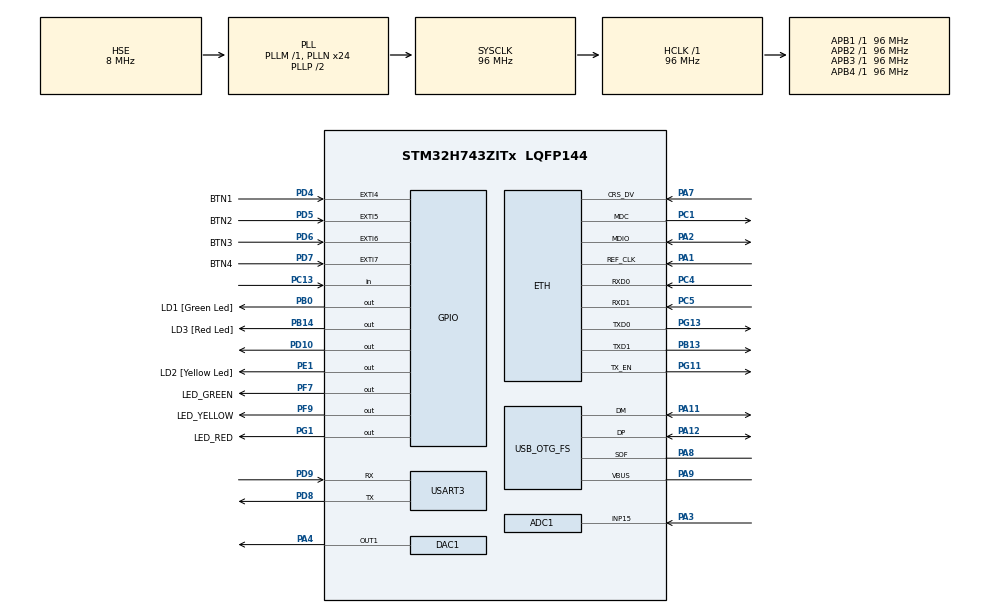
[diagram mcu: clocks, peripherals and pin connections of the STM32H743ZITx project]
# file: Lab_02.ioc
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ADC1.Channel-0\#ChannelRegularConversion=ADC_CHANNEL_15
ADC1.ConversionDataManagement=ADC_CONVERSIONDATA_DMA_ONESHOT
ADC1.ExternalTrigConv=ADC_EXTERNALTRIG_T1_TRGO
ADC1.NbrOfConversion=1
ADC1.NbrOfConversionFlag=1
ADC1.Resolution=ADC_RESOLUTION_12B
ADC1.master=1
DAC1.DAC_Trigger-DAC_OUT1=DAC_TRIGGER_T1_TRGO
Dma.ADC1.0.Direction=DMA_PERIPH_TO_MEMORY
Dma.ADC1.0.EventEnable=DISABLE
Dma.ADC1.0.FIFOMode=DMA_FIFOMODE_DISABLE
Dma.ADC1.0.Instance=DMA1_Stream0
Dma.ADC1.0.MemDataAlignment=DMA_MDATAALIGN_HALFWORD
Dma.ADC1.0.MemInc=DMA_MINC_ENABLE
Dma.ADC1.0.Mode=DMA_NORMAL
Dma.ADC1.0.PeriphDataAlignment=DMA_PDATAALIGN_HALFWORD
Dma.ADC1.0.PeriphInc=DMA_PINC_DISABLE
Dma.ADC1.0.Polarity=HAL_DMAMUX_REQ_GEN_RISING
Dma.ADC1.0.Priority=DMA_PRIORITY_LOW
Dma.ADC1.0.RequestNumber=1
Dma.ADC1.0.SignalID=NONE
Dma.ADC1.0.SyncEnable=DISABLE
Dma.ADC1.0.SyncPolarity=HAL_DMAMUX_SYNC_NO_EVENT
Dma.ADC1.0.SyncRequestNumber=1
Dma.ADC1.0.SyncSignalID=NONE
Dma.DAC1_CH1.1.Direction=DMA_MEMORY_TO_PERIPH
Dma.DAC1_CH1.1.EventEnable=DISABLE
Dma.DAC1_CH1.1.FIFOMode=DMA_FIFOMODE_DISABLE
Dma.DAC1_CH1.1.Instance=DMA1_Stream1
Dma.DAC1_CH1.1.MemDataAlignment=DMA_MDATAALIGN_HALFWORD
Dma.DAC1_CH1.1.MemInc=DMA_MINC_ENABLE
Dma.DAC1_CH1.1.Mode=DMA_NORMAL
Dma.DAC1_CH1.1.PeriphDataAlignment=DMA_PDATAALIGN_HALFWORD
Dma.DAC1_CH1.1.PeriphInc=DMA_PINC_DISABLE
Dma.DAC1_CH1.1.Polarity=HAL_DMAMUX_REQ_GEN_RISING
Dma.DAC1_CH1.1.Priority=DMA_PRIORITY_LOW
Dma.DAC1_CH1.1.RequestNumber=1
Dma.DAC1_CH1.1.SignalID=NONE
Dma.DAC1_CH1.1.SyncEnable=DISABLE
Dma.DAC1_CH1.1.SyncPolarity=HAL_DMAMUX_SYNC_NO_EVENT
Dma.DAC1_CH1.1.SyncRequestNumber=1
Dma.DAC1_CH1.1.SyncSignalID=NONE
Dma.Request0=ADC1
Dma.Request1=DAC1_CH1
ETH.MediaInterface=HAL_ETH_RMII_MODE
Mcu.Family=STM32H7
Mcu.Name=STM32H743ZITx
Mcu.Package=LQFP144
NVIC.DMA1_Stream0_IRQn=true\:0\:0\:false\:false\:true\:false\:true
NVIC.DMA1_Stream1_IRQn=true\:0\:0\:false\:false\:true\:false\:true
NVIC.EXTI4_IRQn=true\:0\:0\:false\:false\:true\:true\:true
NVIC.EXTI9_5_IRQn=true\:0\:0\:false\:false\:true\:true\:true
NVIC.PriorityGroup=NVIC_PRIORITYGROUP_4
PA1.Mode=RMII
PA1.Signal=ETH_REF_CLK
PA11.Mode=Device_Only
PA11.Signal=USB_OTG_FS_DM
PA12.Mode=Device_Only
PA12.Signal=USB_OTG_FS_DP
PA2.Mode=RMII
PA2.Signal=ETH_MDIO
PA3.Signal=ADCx_INP15
PA4.Signal=COMP_DAC11_group
PA7.Mode=RMII
PA7.Signal=ETH_CRS_DV
PA8.Mode=Activate_SOF_FS
PA8.Signal=USB_OTG_FS_SOF
PA9.Mode=Activate_VBUS
PA9.Signal=USB_OTG_FS_VBUS
PB0.GPIO_Label=LD1 [Green Led]
PB0.GPIO_ModeDefaultOutputPP=GPIO_MODE_OUTPUT_PP
PB0.GPIO_PuPd=GPIO_NOPULL
PB0.GPIO_Speed=GPIO_SPEED_FREQ_LOW
PB0.PinState=GPIO_PIN_RESET
PB0.Signal=GPIO_Output
PB13.Mode=RMII
PB13.Signal=ETH_TXD1
PB14.GPIO_Label=LD3 [Red Led]
PB14.GPIO_ModeDefaultOutputPP=GPIO_MODE_OUTPUT_PP
PB14.GPIO_PuPd=GPIO_NOPULL
PB14.GPIO_Speed=GPIO_SPEED_FREQ_LOW
PB14.PinState=GPIO_PIN_RESET
PB14.Signal=GPIO_Output
PC1.Mode=RMII
PC1.Signal=ETH_MDC
PC13.GPIO_Mode=GPIO_MODE_INPUT
PC13.GPIO_PuPd=GPIO_NOPULL
PC13.Signal=GPIO_Input
PC14-OSC32_IN\ (OSC32_IN).Mode=LSE-External-Oscillator
PC14-OSC32_IN\ (OSC32_IN).Signal=RCC_OSC32_IN
PC15-OSC32_OUT\ (OSC32_OUT).Mode=LSE-External-Oscillator
PC15-OSC32_OUT\ (OSC32_OUT).Signal=RCC_OSC32_OUT
PC4.Mode=RMII
PC4.Signal=ETH_RXD0
PC5.Mode=RMII
PC5.Signal=ETH_RXD1
PD10.GPIO_ModeDefaultOutputPP=GPIO_MODE_OUTPUT_PP
PD10.GPIO_PuPd=GPIO_NOPULL
PD10.GPIO_Speed=GPIO_SPEED_FREQ_LOW
PD10.PinState=GPIO_PIN_RESET
PD10.Signal=GPIO_Output
PD4.GPIO_Label=BTN1
PD4.GPIO_ModeDefaultEXTI=GPIO_MODE_IT_FALLING
PD4.Signal=GPXTI4
PD5.GPIO_Label=BTN2
PD5.GPIO_ModeDefaultEXTI=GPIO_MODE_IT_FALLING
PD5.Signal=GPXTI5
PD6.GPIO_Label=BTN3
PD6.GPIO_ModeDefaultEXTI=GPIO_MODE_IT_FALLING
PD6.Signal=GPXTI6
PD7.GPIO_Label=BTN4
PD7.GPIO_ModeDefaultEXTI=GPIO_MODE_IT_FALLING
PD7.Signal=GPXTI7
PD8.GPIO_ModeDefaultPP=GPIO_MODE_AF_PP
PD8.GPIO_PuPd=GPIO_NOPULL
PD8.GPIO_Speed=GPIO_SPEED_FREQ_LOW
PD8.Mode=Asynchronous
PD8.Signal=USART3_TX
PD9.GPIO_ModeDefaultPP=GPIO_MODE_AF_PP
PD9.GPIO_PuPd=GPIO_NOPULL
PD9.GPIO_Speed=GPIO_SPEED_FREQ_LOW
PD9.Mode=Asynchronous
PD9.Signal=USART3_RX
PE1.GPIO_Label=LD2 [Yellow Led]
PE1.GPIO_ModeDefaultOutputPP=GPIO_MODE_OUTPUT_PP
PE1.GPIO_PuPd=GPIO_NOPULL
PE1.GPIO_Speed=GPIO_SPEED_FREQ_LOW
PE1.PinState=GPIO_PIN_RESET
PE1.Signal=GPIO_Output
PF7.GPIO_Label=LED_GREEN
PF7.Signal=GPIO_Output
PF9.GPIO_Label=LED_YELLOW
PF9.Signal=GPIO_Output
PG1.GPIO_Label=LED_RED
PG1.Signal=GPIO_Output
PG11.Mode=RMII
PG11.Signal=ETH_TX_EN
PG13.Mode=RMII
PG13.Signal=ETH_TXD0
PH0-OSC_IN\ (PH0).Mode=HSE-External-Clock-Source
PH0-OSC_IN\ (PH0).Signal=RCC_OSC_IN
PH1-OSC_OUT\ (PH1).Signal=RCC_OSC_OUT
ProjectManager.HeapSize=0x200
ProjectManager.StackSize=0x400
ProjectManager.TargetToolchain=STM32CubeIDE
RCC.ADCFreq_Value=50666666.666666664
RCC.APB1Freq_Value=96000000
RCC.APB2Freq_Value=96000000
RCC.APB3Freq_Value=96000000
RCC.APB4Freq_Value=96000000
RCC.CortexFreq_Value=96000000
RCC.DIVM1=1
RCC.DIVM2=1
RCC.DIVN1=24
RCC.DIVN2=19
RCC.DIVP2=3
RCC.DIVQ1=4
RCC.HCLKFreq_Value=96000000
RCC.HSE_VALUE=8000000
RCC.PLLFRACN=0
RCC.SYSCLKFreq_VALUE=96000000
RCC.SYSCLKSource=RCC_SYSCLKSOURCE_PLLCLK
RCC.USBFreq_Value=48000000
SH.ADCx_INP15.0=ADC1_INP15,IN15-Single-Ended
SH.COMP_DAC11_group.0=DAC1_OUT1,DAC_OUT1
TIM1.Period=12000-1
TIM1.TIM_MasterOutputTrigger=TIM_TRGO_UPDATE
USART3.VirtualMode-Asynchronous=VM_ASYNC
USB_OTG_FS.VirtualMode=Device_Only
VP_TIM1_VS_ClockSourceINT.Mode=Internal
board=NUCLEO-H743ZI2

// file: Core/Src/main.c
/* USER CODE BEGIN Header */
/**
 ******************************************************************************
 * @file           : main.c
 * @brief          : Main program body
 ******************************************************************************
 * @attention
 *
 * <h2><center>&copy; Copyright (c) 2020 STMicroelectronics.
 * All rights reserved.</center></h2>
 *
 * This software component is licensed by ST under BSD 3-Clause license,
 * the "License"; You may not use this file except in compliance with the
 * License. You may obtain a copy of the License at:
 *                        opensource.org/licenses/BSD-3-Clause
 *
 ******************************************************************************
 */
/* USER CODE END Header */
#include "main.h"
#include "string.h"

#if defined ( __ICCARM__ ) /*!< IAR Compiler */

#pragma location=0x30040000
ETH_DMADescTypeDef  DMARxDscrTab[ETH_RX_DESC_CNT]; /* Ethernet Rx DMA Descriptors */
#pragma location=0x30040060
ETH_DMADescTypeDef  DMATxDscrTab[ETH_TX_DESC_CNT]; /* Ethernet Tx DMA Descriptors */
#pragma location=0x30040200
uint8_t Rx_Buff[ETH_RX_DESC_CNT][ETH_MAX_PACKET_SIZE]; /* Ethernet Receive Buffers */

#elif defined ( __CC_ARM )  /* MDK ARM Compiler */

__attribute__((at(0x30040000))) ETH_DMADescTypeDef  DMARxDscrTab[ETH_RX_DESC_CNT]; /* Ethernet Rx DMA Descriptors */
__attribute__((at(0x30040060))) ETH_DMADescTypeDef  DMATxDscrTab[ETH_TX_DESC_CNT]; /* Ethernet Tx DMA Descriptors */
__attribute__((at(0x30040200))) uint8_t Rx_Buff[ETH_RX_DESC_CNT][ETH_MAX_PACKET_SIZE]; /* Ethernet Receive Buffer */

#elif defined ( __GNUC__ ) /* GNU Compiler */

ETH_DMADescTypeDef DMARxDscrTab[ETH_RX_DESC_CNT] __attribute__((section(".RxDecripSection"))); /* Ethernet Rx DMA Descriptors */
ETH_DMADescTypeDef DMATxDscrTab[ETH_TX_DESC_CNT] __attribute__((section(".TxDecripSection")));   /* Ethernet Tx DMA Descriptors */
uint8_t Rx_Buff[ETH_RX_DESC_CNT][ETH_MAX_PACKET_SIZE] __attribute__((section(".RxArraySection"))); /* Ethernet Receive Buffers */

#endif

ETH_TxPacketConfig TxConfig;
ADC_HandleTypeDef hadc1;
DMA_HandleTypeDef hdma_adc1;

DAC_HandleTypeDef hdac1;
DMA_HandleTypeDef hdma_dac1_ch1;

ETH_HandleTypeDef heth;

TIM_HandleTypeDef htim1;

UART_HandleTypeDef huart3;

PCD_HandleTypeDef hpcd_USB_OTG_FS;

void SystemClock_Config(void);
static void MX_GPIO_Init(void);
static void MX_DMA_Init(void);
static void MX_ETH_Init(void);
static void MX_USART3_UART_Init(void);
static void MX_USB_OTG_FS_PCD_Init(void);
static void MX_ADC1_Init(void);
static void MX_DAC1_Init(void);
static void MX_TIM1_Init(void);

/* USER CODE BEGIN 0 */
#define ADC_BUF_SIZE 	8000
#define CIRC_BUF_SIZE	560
#define UP_BUF_SIZE 	6000
#define DOWN_BUF_SIZE 	16000-1

uint16_t ADC_buff[ADC_BUF_SIZE];
uint16_t CIRC_buff[CIRC_BUF_SIZE];
uint16_t UP_buff[UP_BUF_SIZE];
uint16_t DOWN_buff[DOWN_BUF_SIZE];

int DAC_out;

int record_done 	= 0;
int play_done 		= 0;
int button_state 	= 0;
int if_record 		= 0;
/* USER CODE END 0 */

int main(void)
{

	/* MCU Configuration--------------------------------------------------------*/

	/* Reset of all peripherals, Initializes the Flash interface and the Systick. */
	HAL_Init();

	/* Configure the system clock */
	SystemClock_Config();

	/* Initialize all configured peripherals */
	MX_GPIO_Init();
	MX_DMA_Init();
	MX_ETH_Init();
	MX_USART3_UART_Init();
	MX_USB_OTG_FS_PCD_Init();
	MX_ADC1_Init();
	MX_DAC1_Init();
	MX_TIM1_Init();
	/* USER CODE BEGIN 2 */
	if(HAL_ADCEx_Calibration_Start(&hadc1, ADC_CALIB_OFFSET,ADC_SINGLE_ENDED) != HAL_OK){
		Error_Handler();
	}
	HAL_TIM_Base_Start(&htim1);
	/* USER CODE END 2 */

	/* Infinite loop */
	/* USER CODE BEGIN WHILE */
	while (1)
	{
		// Wait until a button is pressed
		if(button_state == 1){
			// Red LED ON for 1 second
			HAL_GPIO_WritePin(GPIOG, LED_RED_Pin, GPIO_PIN_SET);
			HAL_Delay(1000);
			HAL_GPIO_WritePin(GPIOG, LED_RED_Pin, GPIO_PIN_RESET);
			// Yellow LED ON for 1 second
			HAL_GPIO_WritePin(GPIOF, LED_YELLOW_Pin, GPIO_PIN_SET);
			HAL_Delay(1000);
			HAL_GPIO_WritePin(GPIOF, LED_YELLOW_Pin, GPIO_PIN_RESET);
			// Green LED ON
			HAL_GPIO_WritePin(GPIOF, LED_GREEN_Pin, GPIO_PIN_SET);

			// Start a recording
			if(HAL_ADC_Start_DMA(&hadc1, (uint32_t *)&ADC_buff, ADC_BUF_SIZE) != HAL_OK){
				Error_Handler();
			}
			while (1)
			{
				if(record_done == 1){
					record_done = 0;
					break;
				}
			}

			// Wait for 1 second the Green LED OFF
			HAL_Delay(1000);
			HAL_GPIO_WritePin(GPIOF, LED_GREEN_Pin, GPIO_PIN_RESET);

			// Delay for half a second
			HAL_Delay(500);
			// Start a playback
			if(HAL_DAC_Start_DMA(&hdac1, DAC_CHANNEL_1, ADC_buff, ADC_BUF_SIZE, DAC_ALIGN_12B_R) != HAL_OK){
				Error_Handler();
			}
			while (1){
				if(play_done == 1){
					play_done = 0;
					break;
				}
			}
			// Recording sample exists
			if_record = 1;
			// Reset button state
			button_state = 0;
		}else if(button_state == 2){
			// Check if a recording sample exists
			if(!if_record) continue;
			// Green LED ON & Red LED OFF to signal activity
			HAL_GPIO_WritePin(GPIOF, LED_GREEN_Pin, GPIO_PIN_SET);
			HAL_GPIO_WritePin(GPIOG, LED_RED_Pin, GPIO_PIN_RESET);
			// Reverb Effect
			for(int i=0; i<ADC_BUF_SIZE; i++){
				// Reverb + Delay
				DAC_out = ADC_buff[i] + (2/3.f) * CIRC_buff[i%CIRC_BUF_SIZE];
				if(HAL_DAC_Start_DMA(&hdac1, DAC_CHANNEL_1, &DAC_out, 1, DAC_ALIGN_12B_R) != HAL_OK){
					Error_Handler();
				}
				while (1){
					if(play_done == 1){
						play_done = 0;
						break;
					}
				}
				// Circular buffer for delay
				CIRC_buff[i%CIRC_BUF_SIZE] = ADC_buff[i];
			}
			// Reset button state
			button_state = 0;
		}else if(button_state == 3){
			// Check if a recording sample exists
			if(!if_record) continue;
			// Green LED ON & Red LED OFF to signal activity
			HAL_GPIO_WritePin(GPIOF, LED_GREEN_Pin, GPIO_PIN_SET);
			HAL_GPIO_WritePin(GPIOG, LED_RED_Pin, GPIO_PIN_RESET);
			// Fill the upsampled array with the recording
			for(int i=0; i<ADC_BUF_SIZE/4; i++){
				UP_buff[3*i] = ADC_buff[4*i];
			}
			// Interpolate the upsampled array
			int point_1, point_2, point_3;
			for(int i=0; i<ADC_BUF_SIZE/4; i++){
				point_1 = ADC_buff[4*i+1];
				point_2 = ADC_buff[4*i+2];
				point_3 = ADC_buff[4*i+3];
				UP_buff[3*i+1] = (1 / 3.f) * (point_1 - point_2) + point_1;
				UP_buff[3*i+2] = (2 / 3.f) * (point_2 - point_3) + point_2;
			}
			// Start a playback
			if(HAL_DAC_Start_DMA(&hdac1, DAC_CHANNEL_1, UP_buff, UP_BUF_SIZE, DAC_ALIGN_12B_R) != HAL_OK){
				Error_Handler();
			}
			while (1){
				if(play_done == 1){
					play_done = 0;
					break;
				}
			}
			// Reset button state
			button_state = 0;
		}else if(button_state == 4){
			// Check if a recording sample exists
			if(!if_record) continue;
			// Green LED ON & Red LED OFF to signal activity
			HAL_GPIO_WritePin(GPIOF, LED_GREEN_Pin, GPIO_PIN_SET);
			HAL_GPIO_WritePin(GPIOG, LED_RED_Pin, GPIO_PIN_RESET);
			// Fill the downsampled array with the recording
			for(int i=0; i<ADC_BUF_SIZE; i++){
				DOWN_buff[2*i] = ADC_buff[i];
			}
			// Interpolate the downsampled array
			for(int i=0; i<ADC_BUF_SIZE-1; i++){
				DOWN_buff[2*i+1] = (1 / 2.f) * (DOWN_buff[2*i+2] + DOWN_buff[2*i]);
			}
			// Start a playback
			if(HAL_DAC_Start_DMA(&hdac1, DAC_CHANNEL_1, DOWN_buff, DOWN_BUF_SIZE, DAC_ALIGN_12B_R) != HAL_OK){
				Error_Handler();
			}
			while (1){
				if(play_done == 1){
					play_done = 0;
					break;
				}
			}
			// Reset button state
			button_state = 0;
		}
		// Green LED OFF & Red LED ON to signal inactivity
		HAL_GPIO_WritePin(GPIOF, LED_GREEN_Pin, GPIO_PIN_RESET);
		HAL_GPIO_WritePin(GPIOG, LED_RED_Pin, GPIO_PIN_SET);
		/* USER CODE END WHILE */

	}
}

void SystemClock_Config(void)
{
	RCC_OscInitTypeDef RCC_OscInitStruct = {0};
	RCC_ClkInitTypeDef RCC_ClkInitStruct = {0};
	RCC_PeriphCLKInitTypeDef PeriphClkInitStruct = {0};

	/** Supply configuration update enable
	 */
	HAL_PWREx_ConfigSupply(PWR_LDO_SUPPLY);
	/** Configure the main internal regulator output voltage
	 */
	__HAL_PWR_VOLTAGESCALING_CONFIG(PWR_REGULATOR_VOLTAGE_SCALE3);

	while(!__HAL_PWR_GET_FLAG(PWR_FLAG_VOSRDY)) {}
	/** Macro to configure the PLL clock source
	 */
	__HAL_RCC_PLL_PLLSOURCE_CONFIG(RCC_PLLSOURCE_HSE);
	/** Initializes the RCC Oscillators according to the specified parameters
	 * in the RCC_OscInitTypeDef structure.
	 */
	RCC_OscInitStruct.OscillatorType = RCC_OSCILLATORTYPE_HSE;
	RCC_OscInitStruct.HSEState = RCC_HSE_BYPASS;
	RCC_OscInitStruct.PLL.PLLState = RCC_PLL_ON;
	RCC_OscInitStruct.PLL.PLLSource = RCC_PLLSOURCE_HSE;
	RCC_OscInitStruct.PLL.PLLM = 1;
	RCC_OscInitStruct.PLL.PLLN = 24;
	RCC_OscInitStruct.PLL.PLLP = 2;
	RCC_OscInitStruct.PLL.PLLQ = 4;
	RCC_OscInitStruct.PLL.PLLR = 2;
	RCC_OscInitStruct.PLL.PLLRGE = RCC_PLL1VCIRANGE_3;
	RCC_OscInitStruct.PLL.PLLVCOSEL = RCC_PLL1VCOWIDE;
	RCC_OscInitStruct.PLL.PLLFRACN = 0;
	if (HAL_RCC_OscConfig(&RCC_OscInitStruct) != HAL_OK)
	{
		Error_Handler();
	}
	/** Initializes the CPU, AHB and APB buses clocks
	 */
	RCC_ClkInitStruct.ClockType = RCC_CLOCKTYPE_HCLK|RCC_CLOCKTYPE_SYSCLK
			|RCC_CLOCKTYPE_PCLK1|RCC_CLOCKTYPE_PCLK2
			|RCC_CLOCKTYPE_D3PCLK1|RCC_CLOCKTYPE_D1PCLK1;
	RCC_ClkInitStruct.SYSCLKSource = RCC_SYSCLKSOURCE_PLLCLK;
	RCC_ClkInitStruct.SYSCLKDivider = RCC_SYSCLK_DIV1;
	RCC_ClkInitStruct.AHBCLKDivider = RCC_HCLK_DIV1;
	RCC_ClkInitStruct.APB3CLKDivider = RCC_APB3_DIV1;
	RCC_ClkInitStruct.APB1CLKDivider = RCC_APB1_DIV1;
	RCC_ClkInitStruct.APB2CLKDivider = RCC_APB2_DIV1;
	RCC_ClkInitStruct.APB4CLKDivider = RCC_APB4_DIV1;

	if (HAL_RCC_ClockConfig(&RCC_ClkInitStruct, FLASH_LATENCY_1) != HAL_OK)
	{
		Error_Handler();
	}
	PeriphClkInitStruct.PeriphClockSelection = RCC_PERIPHCLK_USART3|RCC_PERIPHCLK_ADC
			|RCC_PERIPHCLK_USB;
	PeriphClkInitStruct.PLL2.PLL2M = 1;
	PeriphClkInitStruct.PLL2.PLL2N = 19;
	PeriphClkInitStruct.PLL2.PLL2P = 3;
	PeriphClkInitStruct.PLL2.PLL2Q = 2;
	PeriphClkInitStruct.PLL2.PLL2R = 2;
	PeriphClkInitStruct.PLL2.PLL2RGE = RCC_PLL2VCIRANGE_3;
	PeriphClkInitStruct.PLL2.PLL2VCOSEL = RCC_PLL2VCOMEDIUM;
	PeriphClkInitStruct.PLL2.PLL2FRACN = 0;
	PeriphClkInitStruct.Usart234578ClockSelection = RCC_USART234578CLKSOURCE_D2PCLK1;
	PeriphClkInitStruct.UsbClockSelection = RCC_USBCLKSOURCE_PLL;
	PeriphClkInitStruct.AdcClockSelection = RCC_ADCCLKSOURCE_PLL2;
	if (HAL_RCCEx_PeriphCLKConfig(&PeriphClkInitStruct) != HAL_OK)
	{
		Error_Handler();
	}
	/** Enable USB Voltage detector
	 */
	HAL_PWREx_EnableUSBVoltageDetector();
}

static void MX_ADC1_Init(void)
{

	ADC_MultiModeTypeDef multimode = {0};
	ADC_ChannelConfTypeDef sConfig = {0};

	/** Common config
	 */
	hadc1.Instance = ADC1;
	hadc1.Init.ClockPrescaler = ADC_CLOCK_ASYNC_DIV1;
	hadc1.Init.Resolution = ADC_RESOLUTION_12B;
	hadc1.Init.ScanConvMode = ADC_SCAN_DISABLE;
	hadc1.Init.EOCSelection = ADC_EOC_SINGLE_CONV;
	hadc1.Init.LowPowerAutoWait = DISABLE;
	hadc1.Init.ContinuousConvMode = DISABLE;
	hadc1.Init.NbrOfConversion = 1;
	hadc1.Init.DiscontinuousConvMode = DISABLE;
	hadc1.Init.ExternalTrigConv = ADC_EXTERNALTRIG_T1_TRGO;
	hadc1.Init.ExternalTrigConvEdge = ADC_EXTERNALTRIGCONVEDGE_RISING;
	hadc1.Init.ConversionDataManagement = ADC_CONVERSIONDATA_DMA_ONESHOT;
	hadc1.Init.Overrun = ADC_OVR_DATA_PRESERVED;
	hadc1.Init.LeftBitShift = ADC_LEFTBITSHIFT_NONE;
	hadc1.Init.OversamplingMode = DISABLE;
	if (HAL_ADC_Init(&hadc1) != HAL_OK)
	{
		Error_Handler();
	}
	/** Configure the ADC multi-mode
	 */
	multimode.Mode = ADC_MODE_INDEPENDENT;
	if (HAL_ADCEx_MultiModeConfigChannel(&hadc1, &multimode) != HAL_OK)
	{
		Error_Handler();
	}
	/** Configure Regular Channel
	 */
	sConfig.Channel = ADC_CHANNEL_15;
	sConfig.Rank = ADC_REGULAR_RANK_1;
	sConfig.SamplingTime = ADC_SAMPLETIME_1CYCLE_5;
	sConfig.SingleDiff = ADC_SINGLE_ENDED;
	sConfig.OffsetNumber = ADC_OFFSET_NONE;
	sConfig.Offset = 0;
	if (HAL_ADC_ConfigChannel(&hadc1, &sConfig) != HAL_OK)
	{
		Error_Handler();
	}

}

static void MX_DAC1_Init(void)
{

	DAC_ChannelConfTypeDef sConfig = {0};

	/** DAC Initialization
	 */
	hdac1.Instance = DAC1;
	if (HAL_DAC_Init(&hdac1) != HAL_OK)
	{
		Error_Handler();
	}
	/** DAC channel OUT1 config
	 */
	sConfig.DAC_SampleAndHold = DAC_SAMPLEANDHOLD_DISABLE;
	sConfig.DAC_Trigger = DAC_TRIGGER_T1_TRGO;
	sConfig.DAC_OutputBuffer = DAC_OUTPUTBUFFER_ENABLE;
	sConfig.DAC_ConnectOnChipPeripheral = DAC_CHIPCONNECT_DISABLE;
	sConfig.DAC_UserTrimming = DAC_TRIMMING_FACTORY;
	if (HAL_DAC_ConfigChannel(&hdac1, &sConfig, DAC_CHANNEL_1) != HAL_OK)
	{
		Error_Handler();
	}

}

static void MX_ETH_Init(void)
{

	heth.Instance = ETH;
	heth.Init.MACAddr[0] =   0x00;
	heth.Init.MACAddr[1] =   0x80;
	heth.Init.MACAddr[2] =   0xE1;
	heth.Init.MACAddr[3] =   0x00;
	heth.Init.MACAddr[4] =   0x00;
	heth.Init.MACAddr[5] =   0x00;
	heth.Init.MediaInterface = HAL_ETH_RMII_MODE;
	heth.Init.TxDesc = DMATxDscrTab;
	heth.Init.RxDesc = DMARxDscrTab;
	heth.Init.RxBuffLen = 1524;

	if (HAL_ETH_Init(&heth) != HAL_OK)
	{
		Error_Handler();
	}

	memset(&TxConfig, 0 , sizeof(ETH_TxPacketConfig));
	TxConfig.Attributes = ETH_TX_PACKETS_FEATURES_CSUM | ETH_TX_PACKETS_FEATURES_CRCPAD;
	TxConfig.ChecksumCtrl = ETH_CHECKSUM_IPHDR_PAYLOAD_INSERT_PHDR_CALC;
	TxConfig.CRCPadCtrl = ETH_CRC_PAD_INSERT;

}

static void MX_TIM1_Init(void)
{

	TIM_ClockConfigTypeDef sClockSourceConfig = {0};
	TIM_MasterConfigTypeDef sMasterConfig = {0};

	htim1.Instance = TIM1;
	htim1.Init.Prescaler = 0;
	htim1.Init.CounterMode = TIM_COUNTERMODE_UP;
	htim1.Init.Period = 12000-1;
	htim1.Init.ClockDivision = TIM_CLOCKDIVISION_DIV1;
	htim1.Init.RepetitionCounter = 0;
	htim1.Init.AutoReloadPreload = TIM_AUTORELOAD_PRELOAD_DISABLE;
	if (HAL_TIM_Base_Init(&htim1) != HAL_OK)
	{
		Error_Handler();
	}
	sClockSourceConfig.ClockSource = TIM_CLOCKSOURCE_INTERNAL;
	if (HAL_TIM_ConfigClockSource(&htim1, &sClockSourceConfig) != HAL_OK)
	{
		Error_Handler();
	}
	sMasterConfig.MasterOutputTrigger = TIM_TRGO_UPDATE;
	sMasterConfig.MasterOutputTrigger2 = TIM_TRGO2_RESET;
	sMasterConfig.MasterSlaveMode = TIM_MASTERSLAVEMODE_DISABLE;
	if (HAL_TIMEx_MasterConfigSynchronization(&htim1, &sMasterConfig) != HAL_OK)
	{
		Error_Handler();
	}

}

static void MX_USART3_UART_Init(void)
{

	huart3.Instance = USART3;
	huart3.Init.BaudRate = 115200;
	huart3.Init.WordLength = UART_WORDLENGTH_8B;
	huart3.Init.StopBits = UART_STOPBITS_1;
	huart3.Init.Parity = UART_PARITY_NONE;
	huart3.Init.Mode = UART_MODE_TX_RX;
	huart3.Init.HwFlowCtl = UART_HWCONTROL_NONE;
	huart3.Init.OverSampling = UART_OVERSAMPLING_16;
	huart3.Init.OneBitSampling = UART_ONE_BIT_SAMPLE_DISABLE;
	huart3.Init.ClockPrescaler = UART_PRESCALER_DIV1;
	huart3.AdvancedInit.AdvFeatureInit = UART_ADVFEATURE_NO_INIT;
	if (HAL_UART_Init(&huart3) != HAL_OK)
	{
		Error_Handler();
	}
	if (HAL_UARTEx_SetTxFifoThreshold(&huart3, UART_TXFIFO_THRESHOLD_1_8) != HAL_OK)
	{
		Error_Handler();
	}
	if (HAL_UARTEx_SetRxFifoThreshold(&huart3, UART_RXFIFO_THRESHOLD_1_8) != HAL_OK)
	{
		Error_Handler();
	}
	if (HAL_UARTEx_DisableFifoMode(&huart3) != HAL_OK)
	{
		Error_Handler();
	}

}

static void MX_USB_OTG_FS_PCD_Init(void)
{

	hpcd_USB_OTG_FS.Instance = USB_OTG_FS;
	hpcd_USB_OTG_FS.Init.dev_endpoints = 9;
	hpcd_USB_OTG_FS.Init.speed = PCD_SPEED_FULL;
	hpcd_USB_OTG_FS.Init.dma_enable = DISABLE;
	hpcd_USB_OTG_FS.Init.phy_itface = PCD_PHY_EMBEDDED;
	hpcd_USB_OTG_FS.Init.Sof_enable = ENABLE;
	hpcd_USB_OTG_FS.Init.low_power_enable = DISABLE;
	hpcd_USB_OTG_FS.Init.lpm_enable = DISABLE;
	hpcd_USB_OTG_FS.Init.battery_charging_enable = ENABLE;
	hpcd_USB_OTG_FS.Init.vbus_sensing_enable = ENABLE;
	hpcd_USB_OTG_FS.Init.use_dedicated_ep1 = DISABLE;
	if (HAL_PCD_Init(&hpcd_USB_OTG_FS) != HAL_OK)
	{
		Error_Handler();
	}

}

static void MX_DMA_Init(void)
{

	/* DMA controller clock enable */
	__HAL_RCC_DMA1_CLK_ENABLE();

	/* DMA interrupt init */
	/* DMA1_Stream0_IRQn interrupt configuration */
	HAL_NVIC_SetPriority(DMA1_Stream0_IRQn, 0, 0);
	HAL_NVIC_EnableIRQ(DMA1_Stream0_IRQn);
	/* DMA1_Stream1_IRQn interrupt configuration */
	HAL_NVIC_SetPriority(DMA1_Stream1_IRQn, 0, 0);
	HAL_NVIC_EnableIRQ(DMA1_Stream1_IRQn);

}

static void MX_GPIO_Init(void)
{
	GPIO_InitTypeDef GPIO_InitStruct = {0};

	/* GPIO Ports Clock Enable */
	__HAL_RCC_GPIOC_CLK_ENABLE();
	__HAL_RCC_GPIOF_CLK_ENABLE();
	__HAL_RCC_GPIOH_CLK_ENABLE();
	__HAL_RCC_GPIOA_CLK_ENABLE();
	__HAL_RCC_GPIOB_CLK_ENABLE();
	__HAL_RCC_GPIOG_CLK_ENABLE();
	__HAL_RCC_GPIOD_CLK_ENABLE();
	__HAL_RCC_GPIOE_CLK_ENABLE();

	/*Configure GPIO pin Output Level */
	HAL_GPIO_WritePin(GPIOF, LED_GREEN_Pin|LED_YELLOW_Pin, GPIO_PIN_RESET);

	/*Configure GPIO pin Output Level */
	HAL_GPIO_WritePin(GPIOB, LD1_Pin|LD3_Pin, GPIO_PIN_RESET);

	/*Configure GPIO pin Output Level */
	HAL_GPIO_WritePin(LED_RED_GPIO_Port, LED_RED_Pin, GPIO_PIN_RESET);

	/*Configure GPIO pin Output Level */
	HAL_GPIO_WritePin(GPIOD, GPIO_PIN_10, GPIO_PIN_RESET);

	/*Configure GPIO pin Output Level */
	HAL_GPIO_WritePin(LD2_GPIO_Port, LD2_Pin, GPIO_PIN_RESET);

	/*Configure GPIO pin : PC13 */
	GPIO_InitStruct.Pin = GPIO_PIN_13;
	GPIO_InitStruct.Mode = GPIO_MODE_INPUT;
	GPIO_InitStruct.Pull = GPIO_NOPULL;
	HAL_GPIO_Init(GPIOC, &GPIO_InitStruct);

	/*Configure GPIO pins : LED_GREEN_Pin LED_YELLOW_Pin */
	GPIO_InitStruct.Pin = LED_GREEN_Pin|LED_YELLOW_Pin;
	GPIO_InitStruct.Mode = GPIO_MODE_OUTPUT_PP;
	GPIO_InitStruct.Pull = GPIO_NOPULL;
	GPIO_InitStruct.Speed = GPIO_SPEED_FREQ_LOW;
	HAL_GPIO_Init(GPIOF, &GPIO_InitStruct);

	/*Configure GPIO pins : LD1_Pin LD3_Pin */
	GPIO_InitStruct.Pin = LD1_Pin|LD3_Pin;
	GPIO_InitStruct.Mode = GPIO_MODE_OUTPUT_PP;
	GPIO_InitStruct.Pull = GPIO_NOPULL;
	GPIO_InitStruct.Speed = GPIO_SPEED_FREQ_LOW;
	HAL_GPIO_Init(GPIOB, &GPIO_InitStruct);

	/*Configure GPIO pin : LED_RED_Pin */
	GPIO_InitStruct.Pin = LED_RED_Pin;
	GPIO_InitStruct.Mode = GPIO_MODE_OUTPUT_PP;
	GPIO_InitStruct.Pull = GPIO_NOPULL;
	GPIO_InitStruct.Speed = GPIO_SPEED_FREQ_LOW;
	HAL_GPIO_Init(LED_RED_GPIO_Port, &GPIO_InitStruct);

	/*Configure GPIO pin : PD10 */
	GPIO_InitStruct.Pin = GPIO_PIN_10;
	GPIO_InitStruct.Mode = GPIO_MODE_OUTPUT_PP;
	GPIO_InitStruct.Pull = GPIO_NOPULL;
	GPIO_InitStruct.Speed = GPIO_SPEED_FREQ_LOW;
	HAL_GPIO_Init(GPIOD, &GPIO_InitStruct);

	/*Configure GPIO pins : BTN1_Pin BTN2_Pin BTN3_Pin BTN4_Pin */
	GPIO_InitStruct.Pin = BTN1_Pin|BTN2_Pin|BTN3_Pin|BTN4_Pin;
	GPIO_InitStruct.Mode = GPIO_MODE_IT_FALLING;
	GPIO_InitStruct.Pull = GPIO_NOPULL;
	HAL_GPIO_Init(GPIOD, &GPIO_InitStruct);

	/*Configure GPIO pin : LD2_Pin */
	GPIO_InitStruct.Pin = LD2_Pin;
	GPIO_InitStruct.Mode = GPIO_MODE_OUTPUT_PP;
	GPIO_InitStruct.Pull = GPIO_NOPULL;
	GPIO_InitStruct.Speed = GPIO_SPEED_FREQ_LOW;
	HAL_GPIO_Init(LD2_GPIO_Port, &GPIO_InitStruct);

	/* EXTI interrupt init*/
	HAL_NVIC_SetPriority(EXTI4_IRQn, 0, 0);
	HAL_NVIC_EnableIRQ(EXTI4_IRQn);

	HAL_NVIC_SetPriority(EXTI9_5_IRQn, 0, 0);
	HAL_NVIC_EnableIRQ(EXTI9_5_IRQn);

}

/* USER CODE BEGIN 4 */
void HAL_GPIO_EXTI_Callback(uint16_t GPIO_Pin) {
	if(GPIO_Pin == BTN1_Pin){
		button_state = 1;
	}else if(GPIO_Pin == BTN2_Pin){
		button_state = 2;
	}else if(GPIO_Pin == BTN3_Pin){
		button_state = 3;
	}else if(GPIO_Pin == BTN4_Pin){
		button_state = 4;
	}
}

void HAL_ADC_ConvCpltCallback(ADC_HandleTypeDef *hadc){
	if(HAL_ADC_Stop_DMA(&hadc1) != HAL_OK){
		Error_Handler();
	}
	record_done = 1;
}

void HAL_DAC_ConvCpltCallbackCh1(DAC_HandleTypeDef *hdac){
	play_done = 1;
}

int _write(int file, char *ptr, int len)
{
	/* Implement your write code here, this is used by puts and printf for example */
	int i=0;
	for(i=0 ; i<len ; i++)
		ITM_SendChar((*ptr++));
	return len;
}
/* USER CODE END 4 */

void Error_Handler(void)
{
	/* USER CODE BEGIN Error_Handler_Debug */
	/* User can add his own implementation to report the HAL error return state */
	HAL_GPIO_WritePin(GPIOB, LD3_Pin, GPIO_PIN_SET);
	/* USER CODE END Error_Handler_Debug */
}

/************************ (C) COPYRIGHT STMicroelectronics *****END OF FILE****/
